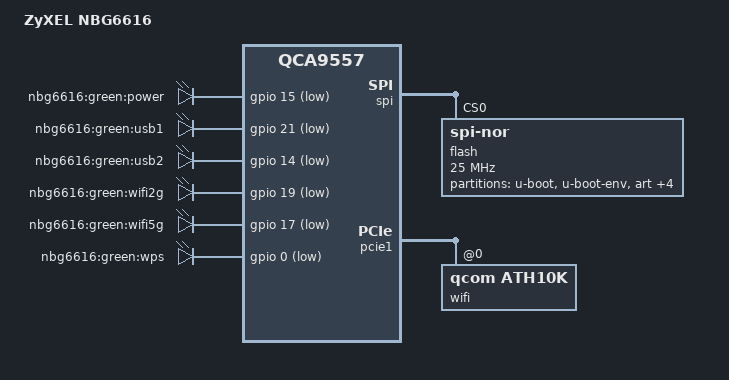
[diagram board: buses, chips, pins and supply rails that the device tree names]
// SPDX-License-Identifier: GPL-2.0-or-later OR MIT

#include "qca955x_zyxel_nbg6x16.dtsi"

/ {
	compatible = "zyxel,nbg6616", "qca,qca9557";
	model = "ZyXEL NBG6616";

	aliases {
		led-boot = &led_power;
		led-failsafe = &led_power;
		led-running = &led_power;
		led-upgrade = &led_power;
	};

	leds {
		compatible = "gpio-leds";

		led_power: power {
			label = "nbg6616:green:power";
			gpios = <&gpio 15 GPIO_ACTIVE_LOW>;
		};

		usb1 {
			label = "nbg6616:green:usb1";
			gpios = <&gpio 21 GPIO_ACTIVE_LOW>;
			linux,default-trigger = "usbport";
			trigger-sources = <&hub_port0>;
		};

		usb2 {
			label = "nbg6616:green:usb2";
			gpios = <&gpio 14 GPIO_ACTIVE_LOW>;
			linux,default-trigger = "usbport";
			trigger-sources = <&hub_port1>;
		};

		wifi2g {
			label = "nbg6616:green:wifi2g";
			gpios = <&gpio 19 GPIO_ACTIVE_LOW>;
			linux,default-trigger = "phy1tpt";
		};

		wifi5g {
			label = "nbg6616:green:wifi5g";
			gpios = <&gpio 17 GPIO_ACTIVE_LOW>;
			linux,default-trigger = "phy0tpt";
		};

		wps {
			label = "nbg6616:green:wps";
			gpios = <&gpio 0 GPIO_ACTIVE_LOW>;
		};
	};
};

&gpio_usb_power {
	line-name = "nbg6616:power:usb";
};

&spi {
	status = "okay";

	num-cs = <1>;

	flash@0 {
		compatible = "jedec,spi-nor";
		reg = <0>;
		spi-max-frequency = <25000000>;

		partitions {
			compatible = "fixed-partitions";
			#address-cells = <1>;
			#size-cells = <1>;

			partition@0 {
				label = "u-boot";
				reg = <0x000000 0x030000>;
				read-only;
			};

			partition@30000 {
				label = "u-boot-env";
				reg = <0x030000 0x010000>;
			};

			art: partition@40000 {
				label = "art";
				reg = <0x040000 0x010000>;
				read-only;
			};

			partition@50000 {
				label = "zyxel_rfsd";
				reg = <0x050000 0x060000>;
			};

			partition@b0000 {
				label = "romd";
				reg = <0x0b0000 0x060000>;
			};

			partition@110000 {
				label = "header";
				reg = <0x110000 0x010000>;
			};

			partition@120000 {
				label = "firmware";
				reg = <0x120000 0xee0000>;
				compatible = "denx,uimage";
			};
		};
	};
};

&pcie1 {
	status = "okay";

	wifi@0,0 {
		compatible = "qcom,ath10k";
		reg = <0 0 0 0 0>;
		qca,no-eeprom;
	};
};
